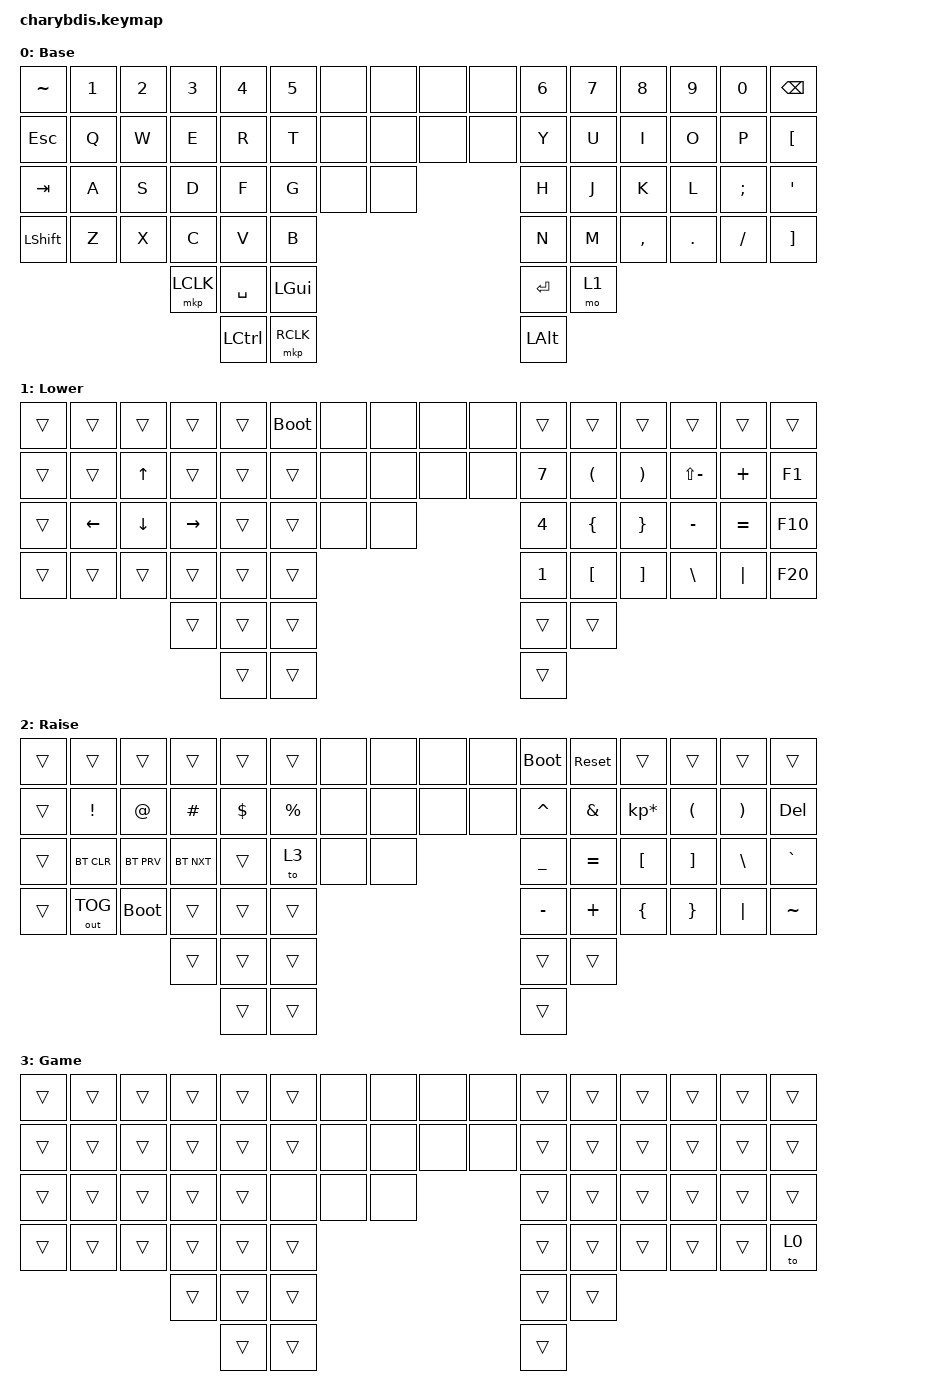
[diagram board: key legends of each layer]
#include <dt-bindings/zmk/mouse.h>
#include <behaviors.dtsi>
#include <dt-bindings/zmk/bt.h>
#include <dt-bindings/zmk/keys.h>
#include <dt-bindings/zmk/outputs.h>


/ {
    combos {
        compatible = "zmk,combos";

        ParaLeft {
            bindings = <&kp LEFT_PARENTHESIS>;
            key-positions = <4 16>;
        };

        ParaRight {
            bindings = <&kp RIGHT_PARENTHESIS>;
            key-positions = <7 19>;
        };

        bootloaderLeft {
            bindings = <&bootloader>;
            key-positions = <0 13>;
        };

        bootloaderRight {
            bindings = <&bootloader>;
            key-positions = <11 22>;
        };

        resetLeft {
            bindings = <&sys_reset>;
            key-positions = <0 12>;
        };

        resetRight {
            bindings = <&sys_reset>;
            key-positions = <11 23>;
        };
    };

    trackball_listener {
        compatible = "zmk,input-behavior-listener";
        device = <&vtrackball>;
        layers = <0 2 3 4 5>;
        evt-type = <INPUT_EV_REL>;
        x-input-code = <INPUT_REL_X>;
        y-input-code = <INPUT_REL_Y>;
        scale-multiplier = <1>;
        scale-divisor = <1>;
        bindings = <&ib_toggle_layer 5>;
    };

    trackball_snipe_listener {
        compatible = "zmk,input-behavior-listener";
        device = <&vtrackball>;
        layers = <>;
        evt-type = <INPUT_EV_REL>;
        x-input-code = <INPUT_REL_X>;
        y-input-code = <INPUT_REL_Y>;
        scale-multiplier = <1>;
        scale-divisor = <4>;
    };

    trackball_scroll_listener {
        compatible = "zmk,input-behavior-listener";
        device = <&vtrackball>;
        layers = <1>;
        evt-type = <INPUT_EV_REL>;
        x-input-code = <INPUT_REL_MISC>;
        y-input-code = <INPUT_REL_WHEEL>;
        y-invert;
        bindings = <&ib_wheel_scaler 1 16>;
    };

    ib_wheel_scaler: ib_wheel_scaler {
        compatible = "zmk,input-behavior-scaler";
        #binding-cells = <2>;
        evt-type = <INPUT_EV_REL>;
        input-code = <INPUT_REL_WHEEL>;
    };

    ib_toggle_layer: ib_toggle_layer {
        compatible = "zmk,input-behavior-tog-layer";
        #binding-cells = <1>;
        time-to-live-ms = <750>;
    };

    behaviors {
        lt: layer_tap {
            compatible = "zmk,behavior-hold-tap";
            #binding-cells = <2>;
            flavor = "balanced";
            tapping-term-ms = <240>;
            quick-tap-ms = <150>;
            bindings = <&mo>, <&kp>;
        };
    };

    keymap {
        compatible = "zmk,keymap";

        Base {
            label = "Base";
            display-name = "Base";
            bindings = <
&kp TILDE   &kp N1  &kp N2  &kp N3     &kp N4     &kp N5        &none  &none  &none  &none    &kp N6        &kp N7  &kp N8     &kp N9   &kp N0    &kp BACKSPACE
&kp ESCAPE  &kp Q   &kp W   &kp E      &kp R      &kp T         &none  &none  &none  &none    &kp Y         &kp U   &kp I      &kp O    &kp P     &kp LEFT_BRACKET
&kp TAB     &kp A   &kp S   &kp D      &kp F      &kp G         &none  &none                  &kp H         &kp J   &kp K      &kp L    &kp SEMI  &kp APOS
&kp LSHFT   &kp Z   &kp X   &kp C      &kp V      &kp B                                       &kp N         &kp M   &kp COMMA  &kp DOT  &kp FSLH  &kp RIGHT_BRACKET
                            &mkp LCLK  &kp SPACE  &kp LEFT_GUI                                &kp ENTER     &mo 1
                                       &kp LCTRL  &mkp RCLK                                   &kp LEFT_ALT
            >;
        };

        Lower {
            label = "Lower";
            display-name = "Lower";
            bindings = <
&trans  &trans    &trans    &trans     &trans  &bootloader    &none  &none  &none  &none   &trans  &trans                &trans                 &trans         &trans     &trans
&trans  &trans    &kp UP    &trans     &trans  &trans         &none  &none  &none  &none   &kp N7  &kp LEFT_PARENTHESIS  &kp RIGHT_PARENTHESIS  &kp LS(MINUS)  &kp PLUS   &kp F1
&trans  &kp LEFT  &kp DOWN  &kp RIGHT  &trans  &trans         &none  &none                 &kp N4  &kp LEFT_BRACE        &kp RIGHT_BRACE        &kp MINUS      &kp EQUAL  &kp F10
&trans  &trans    &trans    &trans     &trans  &trans                                      &kp N1  &kp LEFT_BRACKET      &kp RIGHT_BRACKET      &kp BACKSLASH  &kp PIPE   &kp F20
                            &trans     &trans  &trans                                      &trans  &trans
                                       &trans  &trans                                      &trans
            >;
        };

        Raise {
            label = "Raise";
            display-name = "Raise";
            bindings = <
&trans  &trans        &trans       &trans      &trans    &trans     &none  &none  &none  &none    &bootloader  &sys_reset  &trans           &trans    &trans    &trans
&trans  &kp EXCL      &kp AT       &kp HASH    &kp DLLR  &kp PRCNT  &none  &none  &none  &none    &kp CARET    &kp AMPS    &kp KP_MULTIPLY  &kp LPAR  &kp RPAR  &kp DEL
&trans  &bt BT_CLR    &bt BT_PRV   &bt BT_NXT  &trans    &to 3      &none  &none                  &kp UNDER    &kp EQUAL   &kp LBKT         &kp RBKT  &kp BSLH  &kp GRAVE
&trans  &out OUT_TOG  &bootloader  &trans      &trans    &trans                                   &kp MINUS    &kp PLUS    &kp LBRC         &kp RBRC  &kp PIPE  &kp TILDE
                                   &trans      &trans    &trans                                   &trans       &trans
                                               &trans    &trans                                   &trans
            >;
        };

        Game {
            label = "Game";
            display-name = "Game";
            bindings = <
&trans  &trans  &trans  &trans  &trans  &trans  &none  &none  &none  &none    &trans  &trans  &trans  &trans  &trans  &trans
&trans  &trans  &trans  &trans  &trans  &trans  &none  &none  &none  &none    &trans  &trans  &trans  &trans  &trans  &trans
&trans  &trans  &trans  &trans  &trans  &none   &none  &none                  &trans  &trans  &trans  &trans  &trans  &trans
&trans  &trans  &trans  &trans  &trans  &trans                                &trans  &trans  &trans  &trans  &trans  &to 0
                        &trans  &trans  &trans                                &trans  &trans
                                &trans  &trans                                &trans
            >;
        };
    };
};
